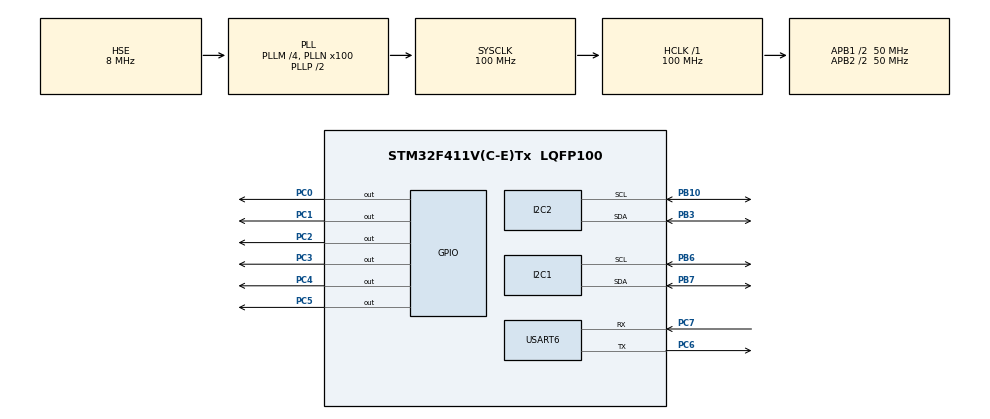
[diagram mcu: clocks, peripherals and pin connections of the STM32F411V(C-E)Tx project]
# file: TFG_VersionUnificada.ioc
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Mcu.Family=STM32F4
Mcu.Name=STM32F411V(C-E)Tx
Mcu.Package=LQFP100
NVIC.PriorityGroup=NVIC_PRIORITYGROUP_0
NVIC.USART6_IRQn=true\:0\:0\:false\:false\:true\:true\:true\:true
PB10.Mode=I2C
PB10.Signal=I2C2_SCL
PB3.Mode=I2C
PB3.Signal=I2C2_SDA
PB6.Mode=I2C
PB6.Signal=I2C1_SCL
PB7.Mode=I2C
PB7.Signal=I2C1_SDA
PC0.Signal=GPIO_Output
PC1.Signal=GPIO_Output
PC2.Signal=GPIO_Output
PC3.Signal=GPIO_Output
PC4.Signal=GPIO_Output
PC5.Signal=GPIO_Output
PC6.Mode=Asynchronous
PC6.Signal=USART6_TX
PC7.Mode=Asynchronous
PC7.Signal=USART6_RX
PH0\ -\ OSC_IN.Mode=HSE-External-Oscillator
PH0\ -\ OSC_IN.Signal=RCC_OSC_IN
PH1\ -\ OSC_OUT.Mode=HSE-External-Oscillator
PH1\ -\ OSC_OUT.Signal=RCC_OSC_OUT
ProjectManager.HeapSize=0x200
ProjectManager.StackSize=0x400
ProjectManager.TargetToolchain=STM32CubeIDE
RCC.48MHZClocksFreq_Value=25000000
RCC.AHBFreq_Value=100000000
RCC.APB1CLKDivider=RCC_HCLK_DIV2
RCC.APB1Freq_Value=50000000
RCC.APB1TimFreq_Value=100000000
RCC.APB2CLKDivider=RCC_HCLK_DIV2
RCC.APB2Freq_Value=50000000
RCC.APB2TimFreq_Value=100000000
RCC.CortexFreq_Value=100000000
RCC.HCLKFreq_Value=100000000
RCC.HSE_VALUE=8000000
RCC.HSI_VALUE=16000000
RCC.LSE_VALUE=32768
RCC.PLLI2SM=5
RCC.PLLI2SN=200
RCC.PLLM=4
RCC.PLLN=100
RCC.PLLQ=8
RCC.PLLSourceVirtual=RCC_PLLSOURCE_HSE
RCC.SYSCLKFreq_VALUE=100000000
RCC.SYSCLKSource=RCC_SYSCLKSOURCE_PLLCLK
RCC.VCOOutputFreq_Value=200000000
USART6.VirtualMode=VM_ASYNC
board=STM32F411E-DISCO

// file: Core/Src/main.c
/* USER CODE BEGIN Header */
/**
  ******************************************************************************
  * @file           : main.c
  * @brief          : Main program body
  ******************************************************************************
  * @attention
  *
  * <h2><center>&copy; Copyright (c) 2020 STMicroelectronics.
  * All rights reserved.</center></h2>
  *
  * This software component is licensed by ST under BSD 3-Clause license,
  * the "License"; You may not use this file except in compliance with the
  * License. You may obtain a copy of the License at:
  *                        opensource.org/licenses/BSD-3-Clause
  *
  ******************************************************************************
  */
/* USER CODE END Header */
#include "main.h"

/* USER CODE BEGIN Includes */
#include <stdio.h>
#include <stdbool.h>

#include "ESP_DATA_HANDLER.h"
#include "sht85.h"
#include "veml7700.h"
#include "wifi_thingspeak.h"
#include "mqtt_raspberry.h"
#include "lcd.h"
/* USER CODE END Includes */

/* USER CODE BEGIN PD */
#define MEASUREMENT_INTERVAL 1000 // 0.2 segundos. Frecuencia para tomar mediciones con los sensores
#define THINGSPEAK_API_KEY "6K0OKMK195CFJ8SQ"
#define SEND_THINGSPEAK_INTERVAL 60000 // 60 segundos. Linea 184 de system_stm32f4xx.c modificada manualmente
#define SEND_RASPBERRY_INTERVAL 60000
#define ANTIBLOCK_STATE_MACHINE 10000 // 10 segundos puede estar como maximo en una maquina de estados. Sino -> reseteo del esp8266
//#define RESET_ESP_INTERVAL 3600000 // 3600 segundos = 1 hora. Reset del modulo esp8266 cada hora
#define RESET_ESP_INTERVAL 300000 // 5 MINUTOS segundos = 1 hora. Reset del modulo esp8266 cada hora

/* USER CODE END PD */

I2C_HandleTypeDef hi2c1;
I2C_HandleTypeDef hi2c2;

UART_HandleTypeDef huart6;

/* USER CODE BEGIN PV */
// ----------------- SENSORS -----------------
float temperature = 0.0f;
float averageTemperature = 0.0f;
float humidity = 0.0f;
float averageHumidity = 0.0f;
float luminosity = 0.0f;
float averageLuminosity = 0.0f;

uint8_t countAverage = 0;
// ----------------- TIME MEASUREMENT -----------------
volatile uint32_t lastTimeMeasurement = 0;
volatile uint32_t lastThingSpeakSend = 0;
volatile uint32_t lastRpiSend = 0;

// ----------------- STATE MACHINE -----------------
typedef enum {
    TASK_IDLE,
    TASK_THINGSPEAK,
    TASK_RPI
} CommTask;

static CommTask activeTask = TASK_IDLE;

volatile bool alertaBloqueo = false;
bool firstReset = false;

// BORRAR SI NO FUNCIONA
volatile uint32_t nextThingSpeakSend = 0;  // o HAL_GetTick() + intervalo si no arranca en 0
volatile uint32_t nextRpiSend = 0;

volatile uint32_t currentTick = 0;

volatile uint32_t tsStart = 0;
volatile uint32_t rpiStart = 0;
volatile uint32_t lastResetEsp8266 = 0;

/* USER CODE END PV */

void SystemClock_Config(void);
static void MX_GPIO_Init(void);
static void MX_USART6_UART_Init(void);
static void MX_I2C1_Init(void);
static void MX_I2C2_Init(void);

int main(void)
{

  /* USER CODE BEGIN 1 */
	lastTimeMeasurement = HAL_GetTick();
	lastThingSpeakSend = HAL_GetTick();
	lastRpiSend = HAL_GetTick();
	tsStart = 0;
	rpiStart = 0;
	lastResetEsp8266 = 0;
	nextThingSpeakSend = 30000;
	nextRpiSend = 60000;
  /* USER CODE END 1 */

  /* MCU Configuration--------------------------------------------------------*/

  /* Reset of all peripherals, Initializes the Flash interface and the Systick. */
  HAL_Init();

  /* Configure the system clock */
  SystemClock_Config();

  /* Initialize all configured peripherals */
  MX_GPIO_Init();
  MX_USART6_UART_Init();
  MX_I2C1_Init();
  MX_I2C2_Init();
  /* USER CODE BEGIN 2 */

  // ----------------- ESP8266 WIFI -----------------
  ESP_Init("MOVISTAR_1DD2", "55253A2D16DDBF32D47B", "192.168.1.222");

  // ----------------- SENSORS -----------------
  SHT85_Init();
  HAL_Delay(500);
  VEML7700_Init();

  // ----------------- PANTALLA LCD -----------------
  LCD_Init();

  LCD_Clear();
  LCD_SetCursor(0, 0);
  LCD_Print("Wifi conectado");
  LCD_SetCursor(1, 0);
  LCD_Print("correctamente");

  /* USER CODE END 2 */

  /* Infinite loop */
  /* USER CODE BEGIN WHILE */
  while (1)
  {
	  currentTick = HAL_GetTick();

	  // ----------------- SENSORS -----------------
	  if (currentTick - lastTimeMeasurement >= MEASUREMENT_INTERVAL) {
		  lastTimeMeasurement = currentTick;

		  SHT85_ReadSingleShot(&temperature, &humidity);
		  SHT85_ErrorReset(&temperature, &humidity);
		  averageTemperature += temperature;
		  averageHumidity += humidity;

		  ReadVEML7700(&luminosity);
		  averageLuminosity += luminosity;
		  countAverage++;

		  // ----------------- PANTALLA LCD -----------------
		  LCD_Update_Variables(&temperature, &humidity, &luminosity);
	  }

	  // ----------------- THINGSPEAK + MQTT RASPBERRY -----------------
	  if (activeTask == TASK_IDLE && currentTick >= nextThingSpeakSend) {
	      nextThingSpeakSend += SEND_THINGSPEAK_INTERVAL;
	      lastThingSpeakSend = currentTick;	// Actualiza el tiempo del ultimo envio (opcional)

	      // Calcular promedios
//	      if(countAverage == 0) {
//			  averageTemperature = temperature;
//			  averageHumidity = humidity;
//			  averageLuminosity = luminosity;
//		  } else {
//			  averageTemperature = averageTemperature/countAverage;
//			  averageHumidity = averageHumidity/countAverage;
//			  averageLuminosity = averageLuminosity/countAverage;
//		  }
	      sendDataToThingSpeak(THINGSPEAK_API_KEY, temperature, humidity, luminosity);
	      tsStart = currentTick;	// empieza maquina de estados ThingSpeak
//		  averageTemperature = 0.0f;
//		  averageHumidity = 0.0f;
//		  averageLuminosity = 0.0f;
//		  countAverage = 0;

	      activeTask = TASK_THINGSPEAK;
	  }

	  // Ejecutar la máquina que esté activa. Evita bloques en las máquinas de estado
	  if (activeTask == TASK_THINGSPEAK) {
//	      if (thingSpeakState != 0 && tsStart == 0)		// Empieza maquina estados
//	    	  tsStart = currentTick;

	      processThingSpeakStateMachine();

	      if (thingSpeakState == 0) {
	          tsStart = 0;  // reiniciar si finaliza bien
	          if(currentTick >= nextRpiSend){
				  nextRpiSend += SEND_RASPBERRY_INTERVAL;
				  lastRpiSend = nextRpiSend - SEND_RASPBERRY_INTERVAL;	// Actualiza el tiempo del ultimo envio (opcional)
				  sendDataToRpi(temperature, humidity, luminosity);
				  rpiStart = currentTick;			// Empieza maquina estados Rpi
				  activeTask = TASK_RPI;
	          }

	      } else if ((currentTick - tsStart) > ANTIBLOCK_STATE_MACHINE) {
	          alertaBloqueo = true;
	      }

	  } else if (activeTask == TASK_RPI) {
//	      if (rpiState != 0 && rpiStart == 0)		// Empieza maquina estados
//	          rpiStart = currentTick;

	      processRpiStateMachine();

	      if (rpiState == 0) {
	          rpiStart = 0;	// reiniciar si finaliza bien
	          activeTask = TASK_IDLE;
	      } else if ((HAL_GetTick() - rpiStart) > ANTIBLOCK_STATE_MACHINE) {
	          alertaBloqueo = true;
	      }
	  }

	  if (alertaBloqueo) {
	      // 1. Resetear variables de estado
	      thingSpeakState = 0;
	      rpiState = 0;
	      activeTask = TASK_IDLE;

	      // 2. Limpiar buffers UART
	      Uart_flush();
	      Uart_clear();

	      ESP_Init("MOVISTAR_1DD2", "55253A2D16DDBF32D47B", "192.168.1.222");

	      // 5. Reset de flags y temporizadores
	      alertaBloqueo = false;
	      tsStart = 0;
	      rpiStart = 0;
	  }

	  	  // Reset de Esp8266 cada hora
	  if((currentTick - lastResetEsp8266 >= RESET_ESP_INTERVAL && firstReset == true) || (currentTick >= (RESET_ESP_INTERVAL + 10000) && firstReset == false)) {
		  firstReset = true;
		  lastResetEsp8266 = currentTick;
		  ESP_Init("MOVISTAR_1DD2", "55253A2D16DDBF32D47B", "192.168.1.222");
	  }

    /* USER CODE END WHILE */

    /* USER CODE BEGIN 3 */
//	  Server_Start();
  }
  /* USER CODE END 3 */
}

void SystemClock_Config(void)
{
  RCC_OscInitTypeDef RCC_OscInitStruct = {0};
  RCC_ClkInitTypeDef RCC_ClkInitStruct = {0};

  /** Configure the main internal regulator output voltage
  */
  __HAL_RCC_PWR_CLK_ENABLE();
  __HAL_PWR_VOLTAGESCALING_CONFIG(PWR_REGULATOR_VOLTAGE_SCALE1);

  /** Initializes the RCC Oscillators according to the specified parameters
  * in the RCC_OscInitTypeDef structure.
  */
  RCC_OscInitStruct.OscillatorType = RCC_OSCILLATORTYPE_HSE;
  RCC_OscInitStruct.HSEState = RCC_HSE_ON;
  RCC_OscInitStruct.PLL.PLLState = RCC_PLL_ON;
  RCC_OscInitStruct.PLL.PLLSource = RCC_PLLSOURCE_HSE;
  RCC_OscInitStruct.PLL.PLLM = 4;
  RCC_OscInitStruct.PLL.PLLN = 100;
  RCC_OscInitStruct.PLL.PLLP = RCC_PLLP_DIV2;
  RCC_OscInitStruct.PLL.PLLQ = 8;
  if (HAL_RCC_OscConfig(&RCC_OscInitStruct) != HAL_OK)
  {
    Error_Handler();
  }

  /** Initializes the CPU, AHB and APB buses clocks
  */
  RCC_ClkInitStruct.ClockType = RCC_CLOCKTYPE_HCLK|RCC_CLOCKTYPE_SYSCLK
                              |RCC_CLOCKTYPE_PCLK1|RCC_CLOCKTYPE_PCLK2;
  RCC_ClkInitStruct.SYSCLKSource = RCC_SYSCLKSOURCE_PLLCLK;
  RCC_ClkInitStruct.AHBCLKDivider = RCC_SYSCLK_DIV1;
  RCC_ClkInitStruct.APB1CLKDivider = RCC_HCLK_DIV2;
  RCC_ClkInitStruct.APB2CLKDivider = RCC_HCLK_DIV2;

  if (HAL_RCC_ClockConfig(&RCC_ClkInitStruct, FLASH_LATENCY_3) != HAL_OK)
  {
    Error_Handler();
  }
}

static void MX_I2C1_Init(void)
{

  hi2c1.Instance = I2C1;
  hi2c1.Init.ClockSpeed = 100000;
  hi2c1.Init.DutyCycle = I2C_DUTYCYCLE_2;
  hi2c1.Init.OwnAddress1 = 0;
  hi2c1.Init.AddressingMode = I2C_ADDRESSINGMODE_7BIT;
  hi2c1.Init.DualAddressMode = I2C_DUALADDRESS_DISABLE;
  hi2c1.Init.OwnAddress2 = 0;
  hi2c1.Init.GeneralCallMode = I2C_GENERALCALL_DISABLE;
  hi2c1.Init.NoStretchMode = I2C_NOSTRETCH_DISABLE;
  if (HAL_I2C_Init(&hi2c1) != HAL_OK)
  {
    Error_Handler();
  }

}

static void MX_I2C2_Init(void)
{

  hi2c2.Instance = I2C2;
  hi2c2.Init.ClockSpeed = 100000;
  hi2c2.Init.DutyCycle = I2C_DUTYCYCLE_2;
  hi2c2.Init.OwnAddress1 = 0;
  hi2c2.Init.AddressingMode = I2C_ADDRESSINGMODE_7BIT;
  hi2c2.Init.DualAddressMode = I2C_DUALADDRESS_DISABLE;
  hi2c2.Init.OwnAddress2 = 0;
  hi2c2.Init.GeneralCallMode = I2C_GENERALCALL_DISABLE;
  hi2c2.Init.NoStretchMode = I2C_NOSTRETCH_DISABLE;
  if (HAL_I2C_Init(&hi2c2) != HAL_OK)
  {
    Error_Handler();
  }

}

static void MX_USART6_UART_Init(void)
{

  huart6.Instance = USART6;
  huart6.Init.BaudRate = 115200;
  huart6.Init.WordLength = UART_WORDLENGTH_8B;
  huart6.Init.StopBits = UART_STOPBITS_1;
  huart6.Init.Parity = UART_PARITY_NONE;
  huart6.Init.Mode = UART_MODE_TX_RX;
  huart6.Init.HwFlowCtl = UART_HWCONTROL_NONE;
  huart6.Init.OverSampling = UART_OVERSAMPLING_16;
  if (HAL_UART_Init(&huart6) != HAL_OK)
  {
    Error_Handler();
  }

}

static void MX_GPIO_Init(void)
{
  GPIO_InitTypeDef GPIO_InitStruct = {0};

  /* GPIO Ports Clock Enable */
  __HAL_RCC_GPIOH_CLK_ENABLE();
  __HAL_RCC_GPIOC_CLK_ENABLE();
  __HAL_RCC_GPIOB_CLK_ENABLE();

  /*Configure GPIO pin Output Level */
  HAL_GPIO_WritePin(GPIOC, GPIO_PIN_0|GPIO_PIN_1|GPIO_PIN_2|GPIO_PIN_3
                          |GPIO_PIN_4|GPIO_PIN_5, GPIO_PIN_RESET);

  /*Configure GPIO pins : PC0 PC1 PC2 PC3
                           PC4 PC5 */
  GPIO_InitStruct.Pin = GPIO_PIN_0|GPIO_PIN_1|GPIO_PIN_2|GPIO_PIN_3
                          |GPIO_PIN_4|GPIO_PIN_5;
  GPIO_InitStruct.Mode = GPIO_MODE_OUTPUT_PP;
  GPIO_InitStruct.Pull = GPIO_NOPULL;
  GPIO_InitStruct.Speed = GPIO_SPEED_FREQ_LOW;
  HAL_GPIO_Init(GPIOC, &GPIO_InitStruct);

}

void Error_Handler(void)
{
}
